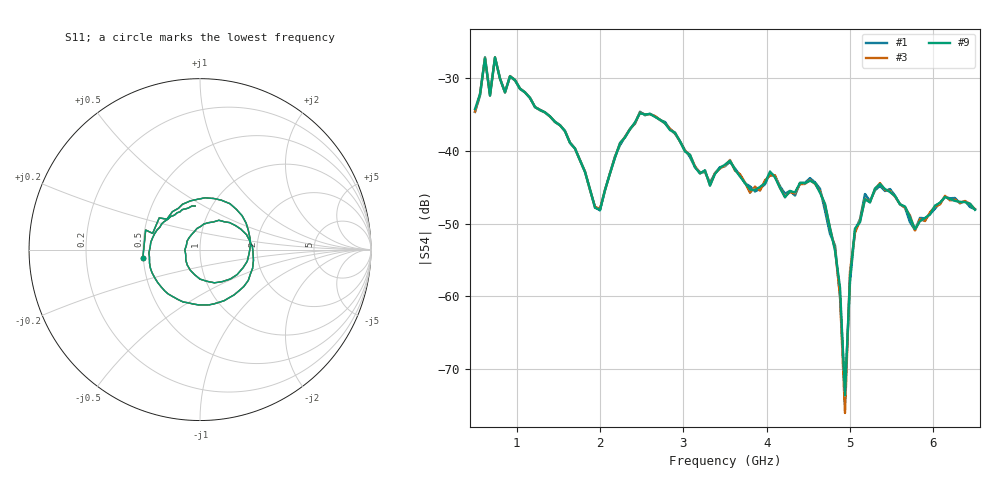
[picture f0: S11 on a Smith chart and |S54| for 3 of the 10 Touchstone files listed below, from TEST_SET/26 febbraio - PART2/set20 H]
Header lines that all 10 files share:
!Keysight Technologies,M9804A,MY58100912,A.14.10.03
!Date: Thursday, April 27, 2023 10:28:33
!Correction: S11(C  6-Port  )
!S12(C  6-Port  )
!S13(C  6-Port  )
!S14(C  6-Port  )
!S15(C  6-Port  )
!S16(C  6-Port  )
!S21(C  6-Port  )
!S22(C  6-Port  )
!S23(C  6-Port  )
!S24(C  6-Port  )
!S25(C  6-Port  )
!S26(C  6-Port  )
!S31(C  6-Port  )
!S32(C  6-Port  )
!S33(C  6-Port  )
!S34(C  6-Port  )
!S35(C  6-Port  )
!S36(C  6-Port  )
!S41(C  6-Port  )
!S42(C  6-Port  )
!S43(C  6-Port  )
!S44(C  6-Port  )
!S45(C  6-Port  )
!S46(C  6-Port  )
!S51(C  6-Port  )
!S52(C  6-Port  )
!S53(C  6-Port  )
!S54(C  6-Port  )
# Hz S  RI  R 50
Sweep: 500 MHz to 6.5 GHz
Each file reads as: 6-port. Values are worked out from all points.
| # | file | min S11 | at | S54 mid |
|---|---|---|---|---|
| 1 | CSF_H_m1.s6p | -21.6 dB | 2.6 GHz | -42.1 dB at 3.5 GHz |
| 2 | CSF_H_m2.s6p | -21.6 dB | 2.6 GHz | -42.1 dB at 3.5 GHz |
| 3 | CSF_H_m3.s6p | -21.6 dB | 2.6 GHz | -42.0 dB at 3.5 GHz |
| 4 | CSF_H_m4.s6p | -21.6 dB | 2.6 GHz | -42.0 dB at 3.5 GHz |
| 5 | CSF_H_m5.s6p | -21.6 dB | 2.6 GHz | -42.1 dB at 3.5 GHz |
| 6 | CSF_H_m6.s6p | -21.6 dB | 2.6 GHz | -42.1 dB at 3.5 GHz |
| 7 | CSF_H_m7.s6p | -21.6 dB | 2.6 GHz | -42.0 dB at 3.5 GHz |
| 8 | CSF_H_m8.s6p | -21.6 dB | 2.6 GHz | -42.1 dB at 3.5 GHz |
| 9 | CSF_H_m9.s6p | -21.6 dB | 2.6 GHz | -41.9 dB at 3.5 GHz |
| 10 | CSF_H_m10.s6p | -21.6 dB | 2.6 GHz | -41.9 dB at 3.5 GHz |
